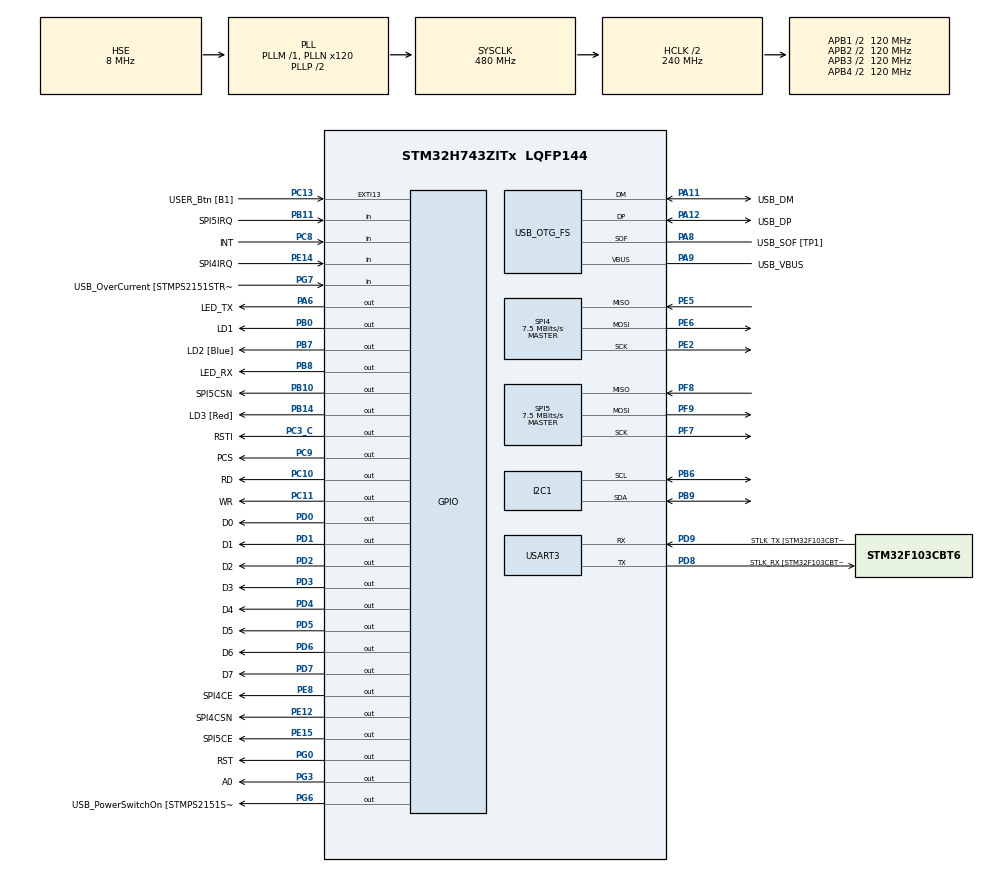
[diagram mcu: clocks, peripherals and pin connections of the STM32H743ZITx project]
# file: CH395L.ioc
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FREERTOS.Tasks01=defaultTask,0,128,StartDefaultTask,Default,NULL
FREERTOS.configTOTAL_HEAP_SIZE=20480
I2C1.Timing=0x307075B1
Mcu.Family=STM32H7
Mcu.Name=STM32H743ZITx
Mcu.Package=LQFP144
NVIC.PriorityGroup=NVIC_PRIORITYGROUP_4
NVIC.TIM1_UP_IRQn=true\:0\:0\:false\:false\:true\:false\:false\:true
NVIC.TimeBase=TIM1_UP_IRQn
NVIC.TimeBaseIP=TIM1
PA1.GPIO_Label=RMII_REF_CLK
PA1.Signal=ETH_REF_CLK
PA10.GPIO_Label=USB_ID
PA10.Signal=USB_OTG_FS_ID
PA11.GPIO_Label=USB_DM
PA11.Mode=Device_Only
PA11.Signal=USB_OTG_FS_DM
PA12.GPIO_Label=USB_DP
PA12.Mode=Device_Only
PA12.Signal=USB_OTG_FS_DP
PA2.GPIO_Label=RMII_MDIO
PA2.Signal=ETH_MDIO
PA6.GPIO_Label=LED_TX
PA6.Signal=GPIO_Output
PA7.GPIO_Label=RMII_CRS_DV
PA7.Signal=ETH_CRS_DV
PA8.GPIO_Label=USB_SOF [TP1]
PA8.Mode=Activate_SOF_FS
PA8.Signal=USB_OTG_FS_SOF
PA9.GPIO_Label=USB_VBUS
PA9.Mode=Activate_VBUS
PA9.Signal=USB_OTG_FS_VBUS
PB0.GPIO_Label=LD1
PB0.Signal=GPIO_Output
PB10.GPIO_Label=SPI5CSN
PB10.Signal=GPIO_Output
PB11.GPIO_Label=SPI5IRQ
PB11.Signal=GPIO_Input
PB13.GPIO_Label=RMII_TXD1
PB13.Signal=ETH_TXD1
PB14.GPIO_Label=LD3 [Red]
PB14.Signal=GPIO_Output
PB6.Mode=I2C
PB6.Signal=I2C1_SCL
PB7.GPIO_Label=LD2 [Blue]
PB7.Signal=GPIO_Output
PB8.GPIO_Label=LED_RX
PB8.Signal=GPIO_Output
PB9.Mode=I2C
PB9.Signal=I2C1_SDA
PC1.GPIO_Label=RMII_MDC
PC1.Signal=ETH_MDC
PC10.GPIO_Label=RD
PC10.Signal=GPIO_Output
PC11.GPIO_Label=WR
PC11.Signal=GPIO_Output
PC13.GPIO_Label=USER_Btn [B1]
PC13.Signal=GPXTI13
PC14-OSC32_IN\ (OSC32_IN).Mode=LSE-External-Oscillator
PC14-OSC32_IN\ (OSC32_IN).Signal=RCC_OSC32_IN
PC15-OSC32_OUT\ (OSC32_OUT).Mode=LSE-External-Oscillator
PC15-OSC32_OUT\ (OSC32_OUT).Signal=RCC_OSC32_OUT
PC3_C.GPIO_Label=RSTI
PC3_C.Signal=GPIO_Output
PC4.GPIO_Label=RMII_RXD0
PC4.Signal=ETH_RXD0
PC5.GPIO_Label=RMII_RXD1
PC5.Signal=ETH_RXD1
PC8.GPIO_Label=INT
PC8.Signal=GPIO_Input
PC9.GPIO_Label=PCS
PC9.Signal=GPIO_Output
PD0.GPIO_Label=D0
PD0.Signal=GPIO_Output
PD1.GPIO_Label=D1
PD1.Signal=GPIO_Output
PD2.GPIO_Label=D2
PD2.Signal=GPIO_Output
PD3.GPIO_Label=D3
PD3.Signal=GPIO_Output
PD4.GPIO_Label=D4
PD4.Signal=GPIO_Output
PD5.GPIO_Label=D5
PD5.Signal=GPIO_Output
PD6.GPIO_Label=D6
PD6.Signal=GPIO_Output
PD7.GPIO_Label=D7
PD7.Signal=GPIO_Output
PD8.GPIO_Label=STLK_RX [STM32F103CBT6_PA3]
PD8.Mode=Asynchronous
PD8.Signal=USART3_TX
PD9.GPIO_Label=STLK_TX [STM32F103CBT6_PA2]
PD9.Mode=Asynchronous
PD9.Signal=USART3_RX
PE12.GPIO_Label=SPI4CSN
PE12.Signal=GPIO_Output
PE14.GPIO_Label=SPI4IRQ
PE14.Signal=GPIO_Input
PE15.GPIO_Label=SPI5CE
PE15.Signal=GPIO_Output
PE2.GPIO_Speed=GPIO_SPEED_FREQ_HIGH
PE2.Mode=Full_Duplex_Master
PE2.Signal=SPI4_SCK
PE5.GPIO_Speed=GPIO_SPEED_FREQ_HIGH
PE5.Mode=Full_Duplex_Master
PE5.Signal=SPI4_MISO
PE6.GPIO_Speed=GPIO_SPEED_FREQ_HIGH
PE6.Mode=Full_Duplex_Master
PE6.Signal=SPI4_MOSI
PE8.GPIO_Label=SPI4CE
PE8.Signal=GPIO_Output
PF7.GPIO_Speed=GPIO_SPEED_FREQ_HIGH
PF7.Mode=Full_Duplex_Master
PF7.Signal=SPI5_SCK
PF8.GPIO_Speed=GPIO_SPEED_FREQ_HIGH
PF8.Mode=Full_Duplex_Master
PF8.Signal=SPI5_MISO
PF9.GPIO_Speed=GPIO_SPEED_FREQ_HIGH
PF9.Mode=Full_Duplex_Master
PF9.Signal=SPI5_MOSI
PG0.GPIO_Label=RST
PG0.Signal=GPIO_Output
PG11.GPIO_Label=RMII_TX_EN
PG11.Signal=ETH_TX_EN
PG13.GPIO_Label=RMII_TXD0
PG13.Signal=ETH_TXD0
PG3.GPIO_Label=A0
PG3.Signal=GPIO_Output
PG6.GPIO_Label=USB_PowerSwitchOn [STMPS2151STR_EN]
PG6.Signal=GPIO_Output
PG7.GPIO_Label=USB_OverCurrent [STMPS2151STR_FAULT]
PG7.Signal=GPIO_Input
PH0-OSC_IN\ (PH0).GPIO_Label=MCO
PH0-OSC_IN\ (PH0).Mode=HSE-External-Clock-Source
PH0-OSC_IN\ (PH0).Signal=RCC_OSC_IN
PH1-OSC_OUT\ (PH1).Mode=HSE-External-Clock-Source
PH1-OSC_OUT\ (PH1).Signal=RCC_OSC_OUT
ProjectManager.HeapSize=0x200
ProjectManager.StackSize=0x400
ProjectManager.TargetToolchain=MDK-ARM V5
RCC.48MHZClocksFreq_Value=24000000
RCC.ADCFreq_Value=16125000
RCC.AHBFreq_Value=216000000
RCC.APB1CLKDivider=RCC_HCLK_DIV4
RCC.APB1Freq_Value=120000000
RCC.APB1TimFreq_Value=108000000
RCC.APB2CLKDivider=RCC_HCLK_DIV2
RCC.APB2Freq_Value=120000000
RCC.APB2TimFreq_Value=216000000
RCC.APB3Freq_Value=120000000
RCC.APB4Freq_Value=120000000
RCC.CortexFreq_Value=480000000
RCC.D1PPRE=RCC_APB3_DIV2
RCC.D2PPRE1=RCC_APB1_DIV2
RCC.D2PPRE2=RCC_APB2_DIV2
RCC.D3PPRE=RCC_APB4_DIV2
RCC.DIVM1=1
RCC.DIVN1=120
RCC.DIVQ1=20
RCC.HCLKFreq_Value=240000000
RCC.HPRE=RCC_HCLK_DIV2
RCC.HSE_VALUE=8000000
RCC.HSI_VALUE=64000000
RCC.PLLFRACN=0
RCC.PLLM=25
RCC.PLLMUL=RCC_PLL_MUL9
RCC.PLLN=432
RCC.PLLQ=9
RCC.PRESCALERUSB=RCC_USBCLKSOURCE_PLL_DIV1_5
RCC.PWR_Regulator_Voltage_Scale=PWR_REGULATOR_VOLTAGE_SCALE0
RCC.SYSCLKFreq_VALUE=480000000
RCC.SYSCLKSource=RCC_SYSCLKSOURCE_PLLCLK
RCC.SYSCLKSourceVirtual=RCC_SYSCLKSOURCE_PLLCLK
RCC.USBFreq_Value=48000000
RCC.VCOOutputFreq_Value=432000000
SPI4.BaudRatePrescaler=SPI_BAUDRATEPRESCALER_16
SPI4.CalculateBaudRate=7.5 MBits/s
SPI4.DataSize=SPI_DATASIZE_8BIT
SPI4.Direction=SPI_DIRECTION_2LINES
SPI4.Mode=SPI_MODE_MASTER
SPI4.VirtualType=VM_MASTER
SPI5.BaudRatePrescaler=SPI_BAUDRATEPRESCALER_16
SPI5.CalculateBaudRate=7.5 MBits/s
SPI5.DataSize=SPI_DATASIZE_8BIT
SPI5.Direction=SPI_DIRECTION_2LINES
SPI5.Mode=SPI_MODE_MASTER
SPI5.VirtualType=VM_MASTER
TIM7.Period=1
TIM7.Prescaler=240-1
USART3.VirtualMode-Asynchronous=VM_ASYNC
USB_OTG_FS.VirtualMode=Device_Only
VP_FREERTOS_VS_CMSIS_V1.Mode=CMSIS_V1
VP_SYS_VS_tim1.Mode=TIM1
VP_TIM7_VS_ClockSourceINT.Mode=Enable_Timer
board=NUCLEO-H743ZI

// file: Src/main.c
/* USER CODE BEGIN Header */
/**
  ******************************************************************************
  * @file           : main.c
  * @brief          : Main program body
  ******************************************************************************
  * @attention
  *
  * <h2><center>&copy; Copyright (c) 2019 STMicroelectronics.
  * All rights reserved.</center></h2>
  *
  * This software component is licensed by ST under BSD 3-Clause license,
  * the "License"; You may not use this file except in compliance with the
  * License. You may obtain a copy of the License at:
  *                        opensource.org/licenses/BSD-3-Clause
  *
  ******************************************************************************
  */
/* USER CODE END Header */

#include "main.h"
#include "cmsis_os.h"
#include "i2c.h"
#include "spi.h"
#include "tim.h"
#include "usart.h"
#include "usb_otg.h"
#include "gpio.h"

/* USER CODE BEGIN Includes */
#include "NRF24L01.h"
#include "CH395.h"
#include "oled.h"

/* USER CODE END Includes */

void SystemClock_Config(void);
void MX_FREERTOS_Init(void);

/* USER CODE BEGIN 0 */
uint8_t TX_frequency = 0x5a;
uint8_t RX_frequency = 0x5a;

uint8_t TX_Packet[25] = {0x48, 0x81, 0x00, 0x00, 0x00, 0x06, 0x00, 0x00, 0x00, 0x05, 0x00, 0x00, 0x00, 0x04, 0x00, 0x00, 0x00, 0x00, 0x00, 0x00, 0x00, 0x00, 0x00, 0x00, 0x00};
uint8_t RX_Packet[25] = {0};
uint8_t rx_success = 0;

uint8_t ErrorFlag;

struct _SOCK_INF  SockInf[4];                                   /* 保存Socket信息 */

extern uint8_t destAddr[4];

/* USER CODE END 0 */

int main(void)
{

  /* MCU Configuration--------------------------------------------------------*/

  /* Reset of all peripherals, Initializes the Flash interface and the Systick. */
  HAL_Init();

  /* Configure the system clock */
  SystemClock_Config();

  /* Initialize all configured peripherals */
  MX_GPIO_Init();
  MX_SPI4_Init();
  MX_SPI5_Init();
  MX_USART3_UART_Init();
  MX_USB_OTG_FS_PCD_Init();
  MX_TIM7_Init();
  MX_I2C1_Init();
  /* USER CODE BEGIN 2 */

	while ( NRF24L01_RX_Check() ){
		HAL_GPIO_TogglePin(LED_RX_GPIO_Port, LED_RX_Pin);
		HAL_Delay(1000);
	}

	while ( NRF24L01_TX_Check() ){
		HAL_GPIO_TogglePin(LED_TX_GPIO_Port, LED_TX_Pin);
		HAL_Delay(1000);
	}

	HAL_Delay(300);
	CH395_Port_Init();  //硬件复位芯片
	HAL_Delay(300);

	ErrorFlag = CH395Init();  //初始化CH395芯片

	mStopIfError(ErrorFlag);

	while(1){
       if(CH395CMDGetPHYStatus() == PHY_DISCONN)
       {
				 HAL_GPIO_TogglePin(LD3_GPIO_Port, LD3_Pin);  /* Ethnet Disconnect Flag */
				 HAL_Delay(200);
       }
       else
       {
           break;
       }
  }

	HAL_GPIO_TogglePin(LD1_GPIO_Port, LD1_Pin);   /* Init Success */

	InitSocketParam();
  CH395SocketInitOpen();

	/*OLED Init*/
	OLED_Init();
	OLED_ON();
	OLED_CLS();
	/*OLED Init*/

  /* USER CODE END 2 */

  /* Call init function for freertos objects (in freertos.c) */
  MX_FREERTOS_Init();

  /* Start scheduler */
  osKernelStart();

  /* We should never get here as control is now taken by the scheduler */

  /* Infinite loop */
  /* USER CODE BEGIN WHILE */
//  while (1)
//  {
    /* USER CODE END WHILE */

    /* USER CODE BEGIN 3 */
//		if (HAL_GPIO_ReadPin(INT_GPIO_Port, INT_Pin) == 0 ){
//			CH395GlobalInterrupt();
//		}
//
//		if ( NRF24L01_RxPacket(RX_Packet) == 0){
//			//CH395UDPSendTo(RX_Packet, 25, destAddr, 1030, 1);
//			CH395SendData( 0, RX_Packet, 25);  /*向发送缓冲区写数据*/
//			rx_success ++;
//			if (rx_success > 32){
//					rx_success = 0;
//				HAL_GPIO_TogglePin(LED_RX_GPIO_Port, LED_RX_Pin);
//			}
//		}
//	}
  /* USER CODE END 3 */
}

void SystemClock_Config(void)
{
  RCC_OscInitTypeDef RCC_OscInitStruct = {0};
  RCC_ClkInitTypeDef RCC_ClkInitStruct = {0};
  RCC_PeriphCLKInitTypeDef PeriphClkInitStruct = {0};

  /** Supply configuration update enable
  */
  HAL_PWREx_ConfigSupply(PWR_LDO_SUPPLY);
  /** Configure the main internal regulator output voltage
  */
  __HAL_PWR_VOLTAGESCALING_CONFIG(PWR_REGULATOR_VOLTAGE_SCALE0);

  while(!__HAL_PWR_GET_FLAG(PWR_FLAG_VOSRDY)) {}
  /** Initializes the CPU, AHB and APB busses clocks
  */
  RCC_OscInitStruct.OscillatorType = RCC_OSCILLATORTYPE_HSE;
  RCC_OscInitStruct.HSEState = RCC_HSE_BYPASS;
  RCC_OscInitStruct.PLL.PLLState = RCC_PLL_ON;
  RCC_OscInitStruct.PLL.PLLSource = RCC_PLLSOURCE_HSE;
  RCC_OscInitStruct.PLL.PLLM = 1;
  RCC_OscInitStruct.PLL.PLLN = 120;
  RCC_OscInitStruct.PLL.PLLP = 2;
  RCC_OscInitStruct.PLL.PLLQ = 20;
  RCC_OscInitStruct.PLL.PLLR = 2;
  RCC_OscInitStruct.PLL.PLLRGE = RCC_PLL1VCIRANGE_3;
  RCC_OscInitStruct.PLL.PLLVCOSEL = RCC_PLL1VCOWIDE;
  RCC_OscInitStruct.PLL.PLLFRACN = 0;
  if (HAL_RCC_OscConfig(&RCC_OscInitStruct) != HAL_OK)
  {
    Error_Handler();
  }
  /** Initializes the CPU, AHB and APB busses clocks
  */
  RCC_ClkInitStruct.ClockType = RCC_CLOCKTYPE_HCLK|RCC_CLOCKTYPE_SYSCLK
                              |RCC_CLOCKTYPE_PCLK1|RCC_CLOCKTYPE_PCLK2
                              |RCC_CLOCKTYPE_D3PCLK1|RCC_CLOCKTYPE_D1PCLK1;
  RCC_ClkInitStruct.SYSCLKSource = RCC_SYSCLKSOURCE_PLLCLK;
  RCC_ClkInitStruct.SYSCLKDivider = RCC_SYSCLK_DIV1;
  RCC_ClkInitStruct.AHBCLKDivider = RCC_HCLK_DIV2;
  RCC_ClkInitStruct.APB3CLKDivider = RCC_APB3_DIV2;
  RCC_ClkInitStruct.APB1CLKDivider = RCC_APB1_DIV2;
  RCC_ClkInitStruct.APB2CLKDivider = RCC_APB2_DIV2;
  RCC_ClkInitStruct.APB4CLKDivider = RCC_APB4_DIV2;

  if (HAL_RCC_ClockConfig(&RCC_ClkInitStruct, FLASH_LATENCY_4) != HAL_OK)
  {
    Error_Handler();
  }
  PeriphClkInitStruct.PeriphClockSelection = RCC_PERIPHCLK_USART3|RCC_PERIPHCLK_SPI5
                              |RCC_PERIPHCLK_SPI4|RCC_PERIPHCLK_I2C1
                              |RCC_PERIPHCLK_USB;
  PeriphClkInitStruct.Spi45ClockSelection = RCC_SPI45CLKSOURCE_D2PCLK1;
  PeriphClkInitStruct.Usart234578ClockSelection = RCC_USART234578CLKSOURCE_D2PCLK1;
  PeriphClkInitStruct.I2c123ClockSelection = RCC_I2C123CLKSOURCE_D2PCLK1;
  PeriphClkInitStruct.UsbClockSelection = RCC_USBCLKSOURCE_PLL;
  if (HAL_RCCEx_PeriphCLKConfig(&PeriphClkInitStruct) != HAL_OK)
  {
    Error_Handler();
  }
  /** Enable USB Voltage detector
  */
  HAL_PWREx_EnableUSBVoltageDetector();
}

/* USER CODE BEGIN 4 */
void delay_us(uint16_t us)
{
     uint16_t differ=0xffff-us-5;

     HAL_TIM_Base_Start(&htim7);
     __HAL_TIM_SetCounter(&htim7,differ);
     while(differ < 0xffff-5)
     {
         differ = __HAL_TIM_GetCounter(&htim7);
     }
     HAL_TIM_Base_Stop(&htim7);

}

/* USER CODE END 4 */

void HAL_TIM_PeriodElapsedCallback(TIM_HandleTypeDef *htim)
{
  if (htim->Instance == TIM1) {
    HAL_IncTick();
  }
}

void Error_Handler(void)
{
}

/************************ (C) COPYRIGHT STMicroelectronics *****END OF FILE****/

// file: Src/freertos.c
/* USER CODE BEGIN Header */
/**
  ******************************************************************************
  * File Name          : freertos.c
  * Description        : Code for freertos applications
  ******************************************************************************
  * @attention
  *
  * <h2><center>&copy; Copyright (c) 2019 STMicroelectronics.
  * All rights reserved.</center></h2>
  *
  * This software component is licensed by ST under Ultimate Liberty license
  * SLA0044, the "License"; You may not use this file except in compliance with
  * the License. You may obtain a copy of the License at:
  *                             www.st.com/SLA0044
  *
  ******************************************************************************
  */
/* USER CODE END Header */

#include "FreeRTOS.h"
#include "task.h"
#include "main.h"
#include "cmsis_os.h"

/* USER CODE BEGIN Includes */
#include "NRF24L01.h"
#include "CH395.h"
#include "oled.h"

/* USER CODE END Includes */

/* USER CODE BEGIN PTD */
extern uint8_t TX_Packet[25];
extern uint8_t RX_Packet[25];
extern uint8_t rx_success;

/* USER CODE END PTD */

/* USER CODE BEGIN PD */
extern uint8_t IPShow[];
extern uint8_t RemoteIpShow[20];
extern uint8_t RemoteIpLen;
extern UART_HandleTypeDef huart3;
extern uint8_t destAddr[];

/* USER CODE END PD */

osThreadId defaultTaskHandle;

/* USER CODE BEGIN FunctionPrototypes */
void RX_Task(void const * argument);
void UDP_REV_Task(void const * argument);

/* USER CODE END FunctionPrototypes */

void StartDefaultTask(void const * argument);

void MX_FREERTOS_Init(void); /* (MISRA C 2004 rule 8.1) */

void MX_FREERTOS_Init(void) {

  /* Create the thread(s) */
  /* definition and creation of defaultTask */
  osThreadDef(defaultTask, StartDefaultTask, osPriorityNormal, 0, 128);
  defaultTaskHandle = osThreadCreate(osThread(defaultTask), NULL);

  /* USER CODE BEGIN RTOS_THREADS */
  /* add threads, ... */
	osThreadDef(RXTask, RX_Task, osPriorityRealtime, 0, 128);
  defaultTaskHandle = osThreadCreate(osThread(RXTask), NULL);

	osThreadDef(UDP_Task, UDP_REV_Task, osPriorityHigh, 0, 128);
  defaultTaskHandle = osThreadCreate(osThread(UDP_Task), NULL);
  /* USER CODE END RTOS_THREADS */

}

void StartDefaultTask(void const * argument)
{

  /* USER CODE BEGIN StartDefaultTask */
	//OLED_ShowStr(0, 0, "ZJUNlict Trans",2);
	OLED_ShowStr(0, 0, IPShow, 1);
	OLED_ShowStr(0, 2, RemoteIpShow, 1);
	//OLED_ShowChar(0, 0, );

  /* Infinite loop */
  for(;;)
  {
		HAL_GPIO_TogglePin(LD2_GPIO_Port, LD2_Pin);
		//OLED_ShowStr(0, 2, RemoteIpShow, 1);
		//HAL_UART_Transmit(&huart3, destAddr, 4, 0xFF);
		//HAL_UART_Transmit(&huart3, RemoteIpShow, 20, 0xFF);

    osDelay(1000);
  }
  /* USER CODE END StartDefaultTask */
}

/* USER CODE BEGIN Application */
void RX_Task(void const * argument)
{
	while(1)
	{
		if ( NRF24L01_RxPacket(RX_Packet) == 0){
			//CH395UDPSendTo(RX_Packet, 25, destAddr, 1030, 1);
			CH395SendData( 0, RX_Packet, 25 );  /*向发送缓冲区写数据*/
			rx_success ++;
			if (rx_success > 32){
					rx_success = 0;
					HAL_GPIO_TogglePin(LED_RX_GPIO_Port, LED_RX_Pin);
			}
		}
		osDelay(1);
	}
}

void UDP_REV_Task(void const * argument)
{
	while(1)
	{
		if (HAL_GPIO_ReadPin(INT_GPIO_Port, INT_Pin) == 0 ){
			CH395GlobalInterrupt();
		}
		osDelay(3);
	}
}

/* USER CODE END Application */

/************************ (C) COPYRIGHT STMicroelectronics *****END OF FILE****/
